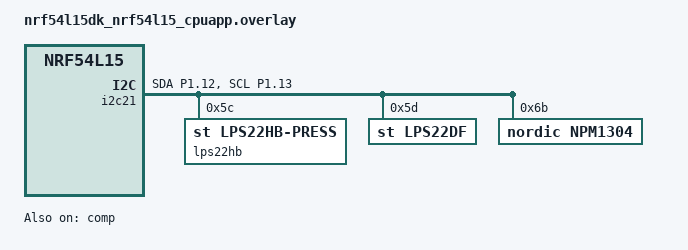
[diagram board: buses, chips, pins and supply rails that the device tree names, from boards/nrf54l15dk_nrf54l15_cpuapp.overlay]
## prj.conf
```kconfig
CONFIG_LOG=y
CONFIG_USE_SEGGER_RTT=y
CONFIG_LOG_BACKEND_RTT=y
CONFIG_LOG_BACKEND_UART=n
CONFIG_COMPARATOR=y
CONFIG_I2C=y
CONFIG_SENSOR=y
```

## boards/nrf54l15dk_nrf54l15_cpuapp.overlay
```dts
/*
 * SPDX-License-Identifier: Apache-2.0
 *
 * Build-only: pins are placeholders, not a DK wiring.
 */

#include <zephyr/dt-bindings/comparator/nrf-comp.h>
#include <zephyr/dt-bindings/sensor/lps2xdf.h>

&comp {
	main-mode = "SE";
	psel = <NRF_COMP_AIN4>;
	refsel = "INT_1V2";
	sp-mode = "HIGH";
	th-up = <63>;
	th-down = <59>;
	isource = "DISABLED";
	status = "okay";
};

&pinctrl {
	i2c21_default: i2c21_default {
		group1 {
			psels = <NRF_PSEL(TWIM_SDA, 1, 12)>,
				<NRF_PSEL(TWIM_SCL, 1, 13)>;
		};
	};

	i2c21_sleep: i2c21_sleep {
		group1 {
			psels = <NRF_PSEL(TWIM_SDA, 1, 12)>,
				<NRF_PSEL(TWIM_SCL, 1, 13)>;
			low-power-enable;
		};
	};
};

&i2c21 {
	status = "okay";
	pinctrl-0 = <&i2c21_default>;
	pinctrl-1 = <&i2c21_sleep>;
	pinctrl-names = "default", "sleep";

	lps22hb: lps22hb-press@5c {
		compatible = "st,lps22hb-press";
		reg = <0x5c>;
	};

	lps22df: lps22df@5d {
		compatible = "st,lps22df";
		reg = <0x5d>;
		odr = <LPS2xDF_DT_ODR_10HZ>;
		lpf = <LPS2xDF_DT_LP_FILTER_ODR_4>;
		avg = <LPS2xDF_DT_AVG_128_SAMPLES>;
	};

	npm1304: pmic@6b {
		compatible = "nordic,npm1304";
		reg = <0x6b>;

		npm1304_charger: charger {
			compatible = "nordic,npm1304-charger";
			term-microvolt = <4150000>;
			term-warm-microvolt = <4000000>;
			current-microamp = <4000>;
			vbus-limit-microamp = <500000>;
			thermistor-ohms = <10000>;
			thermistor-beta = <3380>;
			charging-enable;
		};
	};
};
```

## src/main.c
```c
/*
 * SPDX-License-Identifier: Apache-2.0
 */

#include <errno.h>
#include <zephyr/device.h>
#include <zephyr/drivers/comparator.h>
#include <zephyr/drivers/sensor.h>
#include <zephyr/logging/log.h>

#include "lsm6dsk320x_reg.h"

LOG_MODULE_REGISTER(nrf54_gaps, LOG_LEVEL_INF);

int main(void)
{
	const struct device *const devs[] = {
		DEVICE_DT_GET(DT_NODELABEL(comp)),
		DEVICE_DT_GET(DT_NODELABEL(npm1304_charger)),
		DEVICE_DT_GET(DT_NODELABEL(lps22df)),
		DEVICE_DT_GET(DT_NODELABEL(lps22hb)),
	};
	int ready = 0;

	for (size_t i = 0; i < ARRAY_SIZE(devs); i++) {
		ready += device_is_ready(devs[i]) ? 1 : 0;
	}
	/* Keeps the PID linked through the //modules/st_pid alias. */
	LOG_INF("%d/%u ready, pid %p", ready, (unsigned int)ARRAY_SIZE(devs),
		(void *)lsm6dsk320x_device_id_get);

	return ready == ARRAY_SIZE(devs) ? 0 : -ENODEV;
}
```
